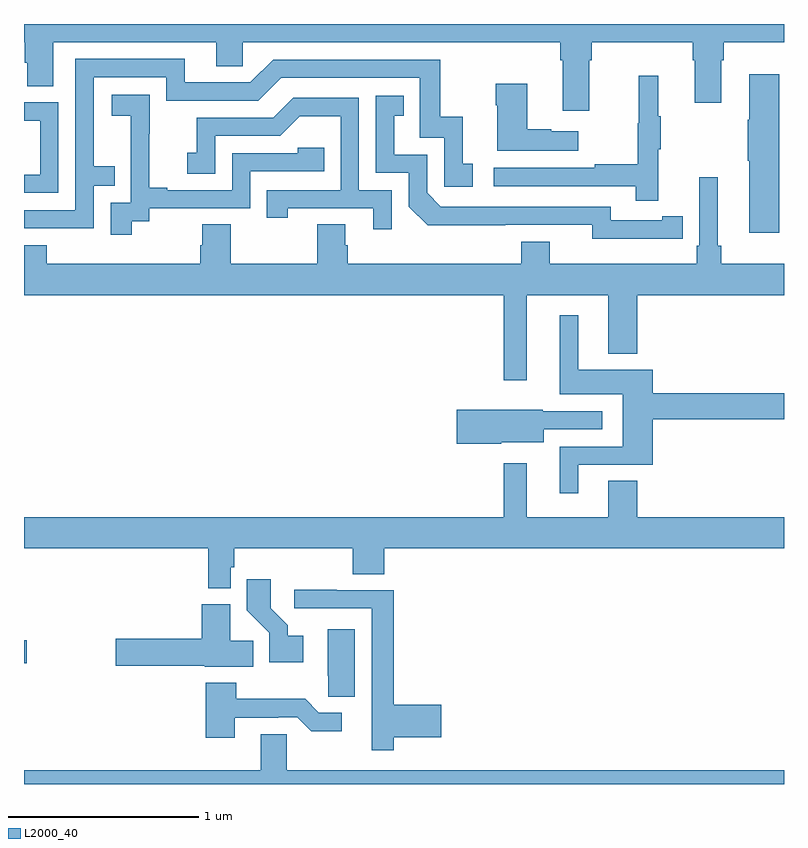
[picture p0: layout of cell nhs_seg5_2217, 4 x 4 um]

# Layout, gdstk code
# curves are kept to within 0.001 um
import gdstk
lib = gdstk.Library(unit=1e-6, precision=1e-09)
def R(c, l, rs):  # rectangles x0, y0, x1, y1
    for r in rs: c.add(gdstk.rectangle(r[:2], r[2:], *l))
def P(c, l, *ps):  # polygons
    for p in ps: c.add(gdstk.Polygon(p, *l))
L2000_40 = (2000, 40)

nhs_seg5_2217 = lib.new_cell('nhs_seg5_2217')
R(nhs_seg5_2217, L2000_40, [(239,909.434,239.014,909.556)])
P(nhs_seg5_2217, L2000_40, [(241.975,912.608),(241.988,912.608),(241.988,912.704),(242.519,912.704),(242.519,912.608),(242.531,912.608),(242.531,912.384),(242.671,912.384),(242.671,912.608),(242.684,912.608),(242.684,912.704),(243,912.704),(243,912.799),(239,912.799),(239,912.704),(239.003,912.704),(239.003,912.595),(239.016,912.595),(239.016,912.472),(239.155,912.472),(239.155,912.704),(240.011,912.704),(240.011,912.577),(240.15,912.577),(240.15,912.704),(241.823,912.704),(241.823,912.608),(241.835,912.608),(241.835,912.342),(241.975,912.342)],
  [(239.367,911.949),(239.477,911.949),(239.477,912.05),(239.367,912.05),(239.367,912.519),(239.748,912.519),(239.748,912.396),(240.234,912.396),(240.354,912.516),(241.083,912.516),(241.083,912.201),(241.212,912.201),(241.212,911.943),(241.363,911.943),(241.363,912.063),(241.31,912.063),(241.31,912.31),(241.192,912.31),(241.192,912.612),(240.312,912.612),(240.192,912.492),(239.845,912.492),(239.845,912.615),(239.271,912.615),(239.271,911.82),(239,911.82),(239,911.724),(239.367,911.724)],
  [(242.975,912.535),(242.816,912.535),(242.816,912.296),(242.809,912.296),(242.809,912.079),(242.816,912.079),(242.816,911.7),(242.975,911.7)],
  [(242.339,912.139),(242.35,912.139),(242.35,912.313),(242.339,912.313),(242.339,912.526),(242.236,912.526),(242.236,912.276),(242.229,912.276),(242.229,912.062),(242.005,912.062),(242.005,912.042),(241.473,912.042),(241.473,911.946),(242.221,911.946),(242.221,911.868),(242.339,911.868)],
  [(241.918,912.235),(241.775,912.235),(241.775,912.245),(241.648,912.245),(241.648,912.484),(241.483,912.484),(241.483,912.371),(241.49,912.371),(241.49,912.131),(241.918,912.131)],
  [(239.566,911.761),(239.658,911.761),(239.658,911.829),(240.192,911.829),(240.192,912.024),(240.581,912.024),(240.581,912.147),(240.441,912.147),(240.441,912.12),(240.096,912.12),(240.096,911.925),(239.755,911.925),(239.755,911.938),(239.66,911.938),(239.66,912.221),(239.661,912.221),(239.661,912.427),(239.463,912.427),(239.463,912.317),(239.561,912.317),(239.561,912.089),(239.562,912.089),(239.562,911.859),(239.457,911.859),(239.457,911.691),(239.566,911.691)],
  [(242.36,911.67),(242.468,911.67),(242.468,911.786),(242.36,911.786),(242.36,911.766),(242.088,911.766),(242.088,911.838),(241.194,911.838),(241.122,911.91),(241.122,912.111),(240.949,912.111),(240.949,912.315),(240.998,912.315),(240.998,912.421),(240.852,912.421),(240.852,912.015),(241.026,912.015),(241.026,911.838),(241.124,911.741),(241.992,911.742),(241.992,911.669)],
  [(240.936,911.925),(240.762,911.925),(240.762,912.411),(240.416,912.411),(240.311,912.306),(239.908,912.306),(239.908,912.121),(239.859,912.121),(239.859,912.012),(240.006,912.012),(240.006,912.21),(240.348,912.21),(240.452,912.314),(240.666,912.314),(240.666,911.925),(240.277,911.925),(240.277,911.778),(240.388,911.778),(240.388,911.829),(240.839,911.829),(240.839,911.718),(240.936,911.718)],
  [(239.181,912.387),(239,912.387),(239,912.291),(239.085,912.291),(239.085,912.006),(239,912.006),(239,911.91),(239.181,911.91)],
  [(241.645,911.372),(242.075,911.372),(242.075,911.063),(242.228,911.063),(242.228,911.372),(243,911.372),(243,911.536),(242.669,911.536),(242.669,911.632),(242.65,911.632),(242.65,911.992),(242.553,911.992),(242.553,911.632),(242.54,911.632),(242.54,911.536),(241.768,911.536),(241.768,911.653),(241.616,911.653),(241.616,911.536),(240.704,911.536),(240.704,911.634),(240.691,911.634),(240.691,911.744),(240.544,911.744),(240.544,911.536),(240.087,911.536),(240.087,911.744),(239.939,911.744),(239.939,911.634),(239.927,911.634),(239.927,911.536),(239.12,911.536),(239.12,911.635),(239,911.635),(239,911.372),(241.524,911.372),(241.524,910.923),(241.645,910.923)],
  [(241.918,910.479),(242.309,910.479),(242.309,910.72),(243,910.72),(243,910.856),(242.309,910.856),(242.309,910.978),(241.918,910.978),(241.918,911.266),(241.82,911.266),(241.82,910.85),(242.15,910.85),(242.15,910.575),(241.82,910.575),(241.82,910.329),(241.918,910.329)],
  [(241.512,910.598),(241.735,910.598),(241.735,910.665),(242.044,910.665),(242.044,910.761),(241.731,910.761),(241.731,910.769),(241.278,910.769),(241.278,910.591),(241.512,910.591)],
  [(240.087,909.939),(240.107,909.939),(240.107,910.04),(240.731,910.04),(240.731,909.904),(240.896,909.904),(240.896,910.04),(243,910.04),(243,910.204),(242.228,910.204),(242.228,910.394),(242.075,910.394),(242.075,910.204),(241.645,910.204),(241.645,910.486),(241.524,910.486),(241.524,910.204),(239,910.204),(239,910.04),(239.971,910.04),(239.971,909.83),(240.087,909.83)],
  [(240.469,909.58),(240.388,909.58),(240.388,909.635),(240.298,909.725),(240.298,909.877),(240.172,909.877),(240.172,909.714),(240.291,909.595),(240.291,909.44),(240.469,909.44)],
  [(240.947,909.044),(241.195,909.044),(241.195,909.215),(240.947,909.215),(240.947,909.819),(240.647,909.819),(240.647,909.822),(240.423,909.822),(240.423,909.723),(240.831,909.723),(240.831,909.198),(240.83,909.198),(240.83,908.976),(240.947,908.976)],
  [(240.206,909.554),(240.085,909.554),(240.085,909.745),(239.936,909.745),(239.936,909.564),(239.484,909.564),(239.484,909.422),(239.952,909.422),(239.952,909.416),(240.206,909.416)],
  [(240.742,909.613),(240.599,909.613),(240.599,909.37),(240.6,909.37),(240.6,909.259),(240.742,909.259)],
  [(240.109,909.147),(240.338,909.147),(240.338,909.15),(240.438,909.15),(240.511,909.077),(240.673,909.077),(240.673,909.174),(240.552,909.174),(240.479,909.247),(240.117,909.247),(240.117,909.331),(239.957,909.331),(239.957,909.042),(240.109,909.042)],
  [(243,908.872),(240.384,908.872),(240.384,909.062),(240.245,909.062),(240.245,908.872),(239,908.872),(239,908.799),(243,908.799)])

lib.write_gds('nhs_seg5_2217.gds')
